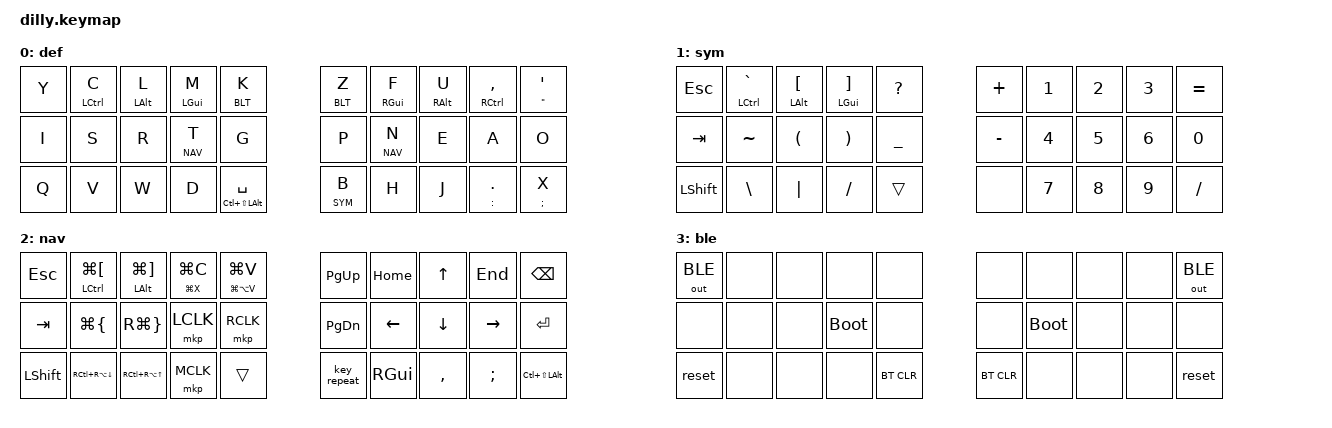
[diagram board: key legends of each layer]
#include <behaviors.dtsi>
#include <dt-bindings/zmk/keys.h>
#include <dt-bindings/zmk/bt.h>
#include <dt-bindings/zmk/outputs.h>
#include <dt-bindings/zmk/mouse.h>

&mt {
    tapping-term-ms = <250>;
    flavor = "tap-preferred";
};
&sk {
     release-after-ms = <2000>;
     quick-release;
};
&caps_word {
    continue-list = <UNDERSCORE BACKSPACE DELETE MINUS>;
};

/* Layers */
#define DEF 0
#define SYM 1
#define NAV 2	
#define BLT 3
/ { 
    combos {
        compatible = "zmk,combos";
        combo_rpt     { timeout-ms = <175>; key-positions = <27 28>; bindings = <&key_repeat>; };
        combo_caps    { timeout-ms = <175>; key-positions = <4 5>; bindings = <&caps_word>; };
        combo_shft_l  { timeout-ms = <175>; key-positions = <13 14>; bindings = <&sk LSHFT>; };
        combo_shft_r  { timeout-ms = <175>; key-positions = <15 16>; bindings = <&sk LSHFT>; };
        combo_star    { timeout-ms = <175>; key-positions = <5 15>; bindings = <&kp STAR>; layers = <SYM>; };
        combo_dot     { timeout-ms = <175>; key-positions = <16 17>; bindings = <&kp DOT>; layers = <SYM>; };
        combo_comma   { timeout-ms = <175>; key-positions = <17 18>; bindings = <&kp COMMA>; layers = <SYM>; };
        combo_numlock { timeout-ms = <175>; key-positions = <13 23>; bindings = <&kp KP_NUM>; layers = <NAV>; };
        combo_bspc_l  { timeout-ms = <175>; key-positions = <3 14>; bindings = <&kp BSPC>; };
        combo_bspc_r  { timeout-ms = <175>; key-positions = <6 15>; bindings = <&kp BSPC>; };
        combo_del_l   { timeout-ms = <175>; key-positions = <4 13>; bindings = <&kp DEL>; };
        combo_del_r   { timeout-ms = <175>; key-positions = <5 16>; bindings = <&kp DEL>; };
        combo_entr_l  { timeout-ms = <175>; key-positions = <22 23>; bindings = <&kp RETURN>; };
        combo_entr_r  { timeout-ms = <175>; key-positions = <26 27>; bindings = <&kp RETURN>; };
        combo_esc_l   { timeout-ms = <175>; key-positions = <3 13>; bindings = <&kp ESC>; };
        combo_esc_r   { timeout-ms = <175>; key-positions = <6 16>; bindings = <&kp ESC>; };
        combo_NAV_l   { timeout-ms = <175>; key-positions = <1 2 3>; bindings = <&tog NAV>; };
        combo_NAV_r   { timeout-ms = <175>; key-positions = <6 7 8>; bindings = <&tog NAV>; };
        combo_tab_l   { timeout-ms = <175>; key-positions = <2 3 10>; bindings = <&kp TAB>; };
        combo_tab_r   { timeout-ms = <175>; key-positions = <6 7 19>; bindings = <&kp TAB>; };
    };

    behaviors {
        m_l: mods_left {
            compatible = "zmk,behavior-hold-tap";
            label = "MODS_L";
            #binding-cells = <2>;
            tapping-term-ms = <300>;
            quick-tap-ms = <250>;
            flavor = "tap-preferred";
            bindings = <&kp>, <&kp>;
        };
        m_r: mods_right {
            compatible = "zmk,behavior-hold-tap";
            label = "MODS_R";
            #binding-cells = <2>;
            tapping-term-ms = <300>;
            quick-tap-ms = <250>;
            flavor = "tap-preferred";
            bindings = <&kp>, <&kp>;
        };
        l_l: layers_left {
            compatible = "zmk,behavior-hold-tap";
            label = "LAYERS_L";
            #binding-cells = <2>;
            tapping-term-ms = <220>;
            quick-tap-ms = <250>;
            flavor = "tap-preferred";
            bindings = <&mo>, <&kp>;
        };
        l_r: layers_right {
            compatible = "zmk,behavior-hold-tap";
            label = "LAYERS_R";
            #binding-cells = <2>;
            tapping-term-ms = <220>;
            quick-tap-ms = <250>;
            flavor = "tap-preferred";
            bindings = <&mo>, <&kp>;
        };
        skq: sticky_key_quick_release {
            compatible = "zmk,behavior-sticky-key";
            label = "STICKY_KEY_QUICK_RELEASE";
            #binding-cells = <1>;
            bindings = <&kp>;
            release-after-ms = <2000>;
            quick-release;
        };
        td: tapdance {
            compatible = "zmk,behavior-hold-tap";
            label = "TAPDANCE";
            #binding-cells = <2>;
            tapping-term-ms = <190>;
            quick-tap-ms = <250>;
            flavor = "tap-preferred";
            bindings = <&kp>, <&kp>;
        };
    };

    //      00  01  02  03  04      05  06  07  08  09
    //      10  11  12  13  14      15  16  17  18  19
    //      20  21  22  23  24      25  26  27  28  29

    keymap {
        compatible = "zmk,keymap";

        def {
            bindings = <
            &kp Y  &m_l LCTL C  &m_l LALT L  &m_l LGUI M  &l_l BLT K            /**/  &l_r BLT Z  &m_r RGUI F  &m_r RALT U  &m_r RCTL COMMA  &td DQT SQT
            &kp I  &kp S        &kp R        &l_l NAV T   &kp G                 /**/  &kp P       &l_r NAV N   &kp E        &kp A            &kp O
            &kp Q  &kp V        &kp W        &kp D        &mt LC(LS(LALT)) SPC  /**/  &l_r SYM B  &kp H        &kp J        &td COLON DOT    &td SEMI X
            >;
        };

        sym {
            bindings = <
            &kp ESC    &m_l LCTL GRAVE  &m_l LALT LBKT  &m_l LGUI RBKT  &kp QMARK  /**/  &kp PLUS   &kp N1  &kp N2  &kp N3  &kp EQUAL
            &kp TAB    &kp TILDE        &kp LPAR        &kp RPAR        &kp UNDER  /**/  &kp MINUS  &kp N4  &kp N5  &kp N6  &kp N0
            &kp LSHFT  &kp BSLH         &kp PIPE        &kp FSLH        &trans     /**/  &none      &kp N7  &kp N8  &kp N9  &kp FSLH
            >;
        };

        nav {
            bindings = <
            &kp ESC    &m_l LCTL LG(LBKT)  &m_l LALT LG(RBKT)  &td LG(X) LG(C)  &td LG(LA(V)) LG(V)  /**/  &kp PG_UP    &kp HOME  &kp UP     &kp END    &kp BSPC
            &kp TAB    &kp LG(LBRC)        &kp RG(RBRC)        &mkp LCLK        &mkp RCLK            /**/  &kp PG_DN    &kp LEFT  &kp DOWN   &kp RIGHT  &kp RET
            &kp LSHFT  &kp RC(RA(DOWN))    &kp RC(RA(UP))      &mkp MCLK        &trans               /**/  &key_repeat  &kp RGUI  &kp COMMA  &kp SEMI   &kp LC(LS(LALT))
            >;
        };

        ble {
            bindings = <
            &out OUT_BLE  &none  &none  &none        &none       /**/  &none       &none        &none  &none  &out OUT_BLE
            &none         &none  &none  &bootloader  &none       /**/  &none       &bootloader  &none  &none  &none
            &reset        &none  &none  &none        &bt BT_CLR  /**/  &bt BT_CLR  &none        &none  &none  &reset
            >;
        };

    };
};
